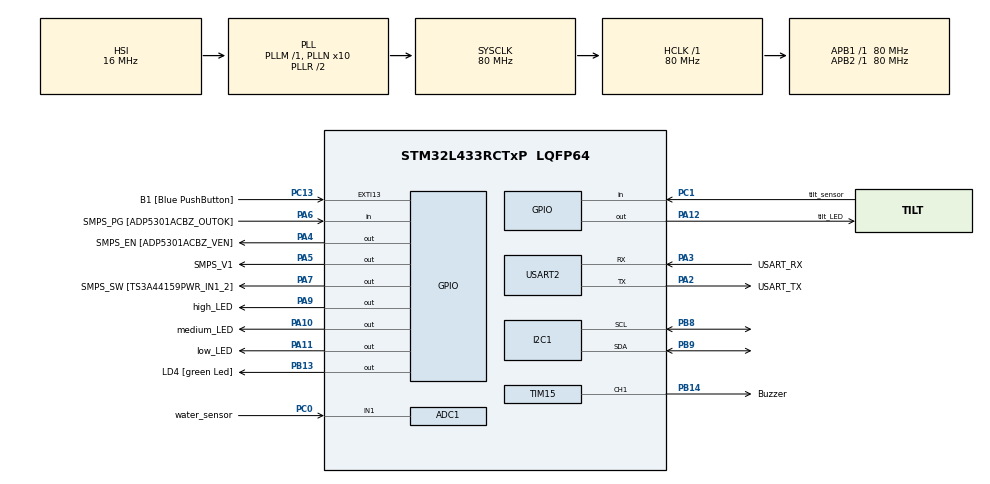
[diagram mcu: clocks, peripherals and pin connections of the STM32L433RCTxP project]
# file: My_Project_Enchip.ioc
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ADC1.Channel-0\#ChannelRegularConversion=ADC_CHANNEL_1
ADC1.ClockPrescaler=ADC_CLOCK_ASYNC_DIV4
ADC1.ContinuousConvMode=ENABLE
ADC1.NbrOfConversion=1
ADC1.NbrOfConversionFlag=1
ADC1.OffsetNumber-0\#ChannelRegularConversion=ADC_OFFSET_NONE
ADC1.Rank-0\#ChannelRegularConversion=1
ADC1.SamplingTime-0\#ChannelRegularConversion=ADC_SAMPLETIME_640CYCLES_5
ADC1.master=1
I2C1.Timing=0x10D19CE4
Mcu.Family=STM32L4
Mcu.Name=STM32L433RCTxP
Mcu.Package=LQFP64
NVIC.ADC1_IRQn=true\:0\:0\:false\:false\:true\:true\:true\:true
NVIC.PriorityGroup=NVIC_PRIORITYGROUP_4
PA10.GPIO_Label=medium_LED
PA10.GPIO_ModeDefaultOutputPP=GPIO_MODE_OUTPUT_PP
PA10.GPIO_PuPd=GPIO_NOPULL
PA10.Signal=GPIO_Output
PA11.GPIO_Label=low_LED
PA11.GPIO_ModeDefaultOutputPP=GPIO_MODE_OUTPUT_PP
PA11.GPIO_PuPd=GPIO_NOPULL
PA11.Signal=GPIO_Output
PA12.GPIO_Label=tilt_LED
PA12.GPIO_ModeDefaultOutputPP=GPIO_MODE_OUTPUT_PP
PA12.GPIO_PuPd=GPIO_NOPULL
PA12.Signal=GPIO_Output
PA13\ (JTMS-SWDIO).GPIO_Label=TMS
PA13\ (JTMS-SWDIO).Mode=Serial_Wire
PA13\ (JTMS-SWDIO).Signal=SYS_JTMS-SWDIO
PA14\ (JTCK-SWCLK).GPIO_Label=TCK
PA14\ (JTCK-SWCLK).Mode=Serial_Wire
PA14\ (JTCK-SWCLK).Signal=SYS_JTCK-SWCLK
PA2.GPIO_Label=USART_TX
PA2.GPIO_Mode=GPIO_MODE_AF_PP
PA2.GPIO_PuPd=GPIO_NOPULL
PA2.GPIO_Speed=GPIO_SPEED_FREQ_VERY_HIGH
PA2.Mode=Asynchronous
PA2.Signal=USART2_TX
PA3.GPIO_Label=USART_RX
PA3.GPIO_Mode=GPIO_MODE_AF_PP
PA3.GPIO_PuPd=GPIO_NOPULL
PA3.GPIO_Speed=GPIO_SPEED_FREQ_VERY_HIGH
PA3.Mode=Asynchronous
PA3.Signal=USART2_RX
PA4.GPIO_Label=SMPS_EN [ADP5301ACBZ_VEN]
PA4.Signal=GPIO_Output
PA5.GPIO_Label=SMPS_V1
PA5.GPIO_ModeDefaultOutputPP=GPIO_MODE_OUTPUT_PP
PA5.GPIO_PuPd=GPIO_NOPULL
PA5.GPIO_Speed=GPIO_SPEED_FREQ_LOW
PA5.Signal=GPIO_Output
PA6.GPIO_Label=SMPS_PG [ADP5301ACBZ_OUTOK]
PA6.GPIO_PuPd=GPIO_PULLUP
PA6.Signal=GPIO_Input
PA7.GPIO_Label=SMPS_SW [TS3A44159PWR_IN1_2]
PA7.Signal=GPIO_Output
PA9.GPIO_Label=high_LED
PA9.GPIO_ModeDefaultOutputPP=GPIO_MODE_OUTPUT_PP
PA9.GPIO_PuPd=GPIO_NOPULL
PA9.Signal=GPIO_Output
PB13.GPIO_Label=LD4 [green Led]
PB13.Signal=GPIO_Output
PB14.GPIO_Label=Buzzer
PB14.Signal=S_TIM15_CH1
PB3\ (JTDO-TRACESWO).GPIO_Label=SWO
PB3\ (JTDO-TRACESWO).Signal=SYS_JTDO-SWO
PB8.Mode=I2C
PB8.Signal=I2C1_SCL
PB9.Mode=I2C
PB9.Signal=I2C1_SDA
PC0.GPIO_Label=water_sensor
PC0.Signal=ADCx_IN1
PC1.GPIO_Label=tilt_sensor
PC1.Signal=GPIO_Input
PC13.GPIO_Label=B1 [Blue PushButton]
PC13.GPIO_ModeDefaultEXTI=GPIO_MODE_IT_FALLING
PC13.GPIO_PuPd=GPIO_NOPULL
PC13.Signal=GPXTI13
PC14-OSC32_IN\ (PC14).Mode=LSE-External-Oscillator
PC14-OSC32_IN\ (PC14).Signal=RCC_OSC32_IN
PC15-OSC32_OUT\ (PC15).Mode=LSE-External-Oscillator
PC15-OSC32_OUT\ (PC15).Signal=RCC_OSC32_OUT
PH0-OSC_IN\ (PH0).GPIO_Label=MCO
PH0-OSC_IN\ (PH0).Mode=HSE-External-Clock-Source
PH0-OSC_IN\ (PH0).Signal=RCC_OSC_IN
PH1-OSC_OUT\ (PH1).Signal=RCC_OSC_OUT
ProjectManager.HeapSize=0x200
ProjectManager.StackSize=0x400
ProjectManager.TargetToolchain=STM32CubeIDE
RCC.ADCFreq_Value=64000000
RCC.AHBFreq_Value=80000000
RCC.APB1Freq_Value=80000000
RCC.APB1TimFreq_Value=80000000
RCC.APB2Freq_Value=80000000
RCC.APB2TimFreq_Value=80000000
RCC.CortexFreq_Value=80000000
RCC.HCLKFreq_Value=80000000
RCC.HSE_VALUE=8000000
RCC.HSI48_VALUE=48000000
RCC.HSI_VALUE=16000000
RCC.MSI_VALUE=4000000
RCC.PLLN=10
RCC.PLLSourceVirtual=RCC_PLLSOURCE_HSI
RCC.PREFETCH_ENABLE=1
RCC.SYSCLKFreq_VALUE=80000000
RCC.SYSCLKSource=RCC_SYSCLKSOURCE_PLLCLK
RCC.USBFreq_Value=64000000
RCC.VCOOutputFreq_Value=160000000
SH.ADCx_IN1.0=ADC1_IN1,IN1-Single-Ended
SH.S_TIM15_CH1.0=TIM15_CH1,PWM Generation1 CH1
TIM15.Channel-PWM\ Generation1\ CH1=TIM_CHANNEL_1
TIM2.Prescaler=(80-1)
TIM2.TIM_MasterSlaveMode=TIM_MASTERSLAVEMODE_DISABLE
USART2.VirtualMode-Asynchronous=VM_ASYNC
VP_TIM15_VS_ClockSourceINT.Mode=Internal
VP_TIM2_VS_ClockSourceINT.Mode=Internal
board=NUCLEO-L433RC-P

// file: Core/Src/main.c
/* USER CODE BEGIN Header */
/**
  ******************************************************************************
  * @file           : main.c
  * @brief          : Main program body
  ******************************************************************************
  * @attention
  *
  * Copyright (c) 2025 STMicroelectronics.
  * All rights reserved.
  *
  * This software is licensed under terms that can be found in the LICENSE file
  * in the root directory of this software component.
  * If no LICENSE file comes with this software, it is provided AS-IS.
  *
  ******************************************************************************
  */
/* USER CODE END Header */
#include "main.h"

/* USER CODE BEGIN Includes */
#include "lcd.h"
#include "abuzz.h"
#include "stdio.h"
/* USER CODE END Includes */

/* USER CODE BEGIN PD */
uint16_t water_sensor;
uint8_t tilt_sensor_flag;
#define none   0
#define low    1
#define medium 2
#define high   3
/* USER CODE END PD */

ADC_HandleTypeDef hadc1;

I2C_HandleTypeDef hi2c1;

TIM_HandleTypeDef htim2;
TIM_HandleTypeDef htim15;

UART_HandleTypeDef huart2;

/* USER CODE BEGIN PV */
TextLCDType lcd;
/* USER CODE END PV */

void SystemClock_Config(void);
static void MX_GPIO_Init(void);
static void MX_USART2_UART_Init(void);
static void MX_ADC1_Init(void);
static void MX_I2C1_Init(void);
static void MX_TIM2_Init(void);
static void MX_TIM15_Init(void);

/* USER CODE BEGIN 0 */

void Display_water_value(){
	char water_value[16];
	if(water_sensor < 1500)
		water_sensor = 0;
	TextLCD_Position(&lcd,0,1);
	sprintf(water_value, "Value: %d   ", (water_sensor /  4));
	TextLCD_PutStr(&lcd, water_value);
}

void Display_water_info(char info[]){
	TextLCD_Position(&lcd,0,0);
	TextLCD_PutStr(&lcd,info);
	Display_water_value();
}

void Tilt_led_off(){ GPIOA->BRR = GPIO_BRR_BR12; }

void Tilt_led_on() { GPIOA->BSRR = GPIO_BSRR_BS12; }

void change_levelLEDS(int level){

	switch(level){
	case 0:
		GPIOA->BRR = GPIO_BRR_BR11 | GPIO_BRR_BR10 | GPIO_BRR_BR9;
		break;
	case 1:
		GPIOA->BSRR = GPIO_BSRR_BS11;
		GPIOA->BRR = GPIO_BRR_BR10 | GPIO_BRR_BR9;
		break;
	case 2:
		GPIOA->BSRR = GPIO_BSRR_BS11 | GPIO_BSRR_BS10;
		GPIOA->BRR = GPIO_BRR_BR9;
		break;
	case 3:
		GPIOA->BSRR = GPIO_BSRR_BS11 | GPIO_BSRR_BS10 | GPIO_BSRR_BS9;
		break;
	}
}

void Display_tilted_info(char info[]){
	abuzz_start();
	abuzz_p_short();
    Tilt_led_on();
    change_levelLEDS(none);
	TextLCD_Clear(&lcd);
	TextLCD_Position(&lcd,0,0);
	TextLCD_PutStr(&lcd,info);
}

void HAL_ADC_ConvCpltCallback(ADC_HandleTypeDef *hadc){
	if(hadc->Instance == ADC1){
		water_sensor = HAL_ADC_GetValue(hadc);
	}
}

/* USER CODE END 0 */

int main(void)
{

  /* MCU Configuration--------------------------------------------------------*/

  /* Reset of all peripherals, Initializes the Flash interface and the Systick. */
  HAL_Init();

  /* Configure the system clock */
  SystemClock_Config();

  /* Initialize all configured peripherals */
  MX_GPIO_Init();
  MX_USART2_UART_Init();
  MX_ADC1_Init();
  MX_I2C1_Init();
  MX_TIM2_Init();
  MX_TIM15_Init();
  /* USER CODE BEGIN 2 */

  TextLCD_Init(&lcd,&hi2c1,0x4E);
  HAL_ADC_Start_IT(&hadc1);
  HAL_TIM_PWM_Start(&htim15, TIM_CHANNEL_1);

  /* USER CODE END 2 */

  /* Infinite loop */
  /* USER CODE BEGIN WHILE */
  while (1)
  {
	  tilt_sensor_flag = HAL_GPIO_ReadPin(tilt_sensor_GPIO_Port, tilt_sensor_Pin);

	  if(tilt_sensor_flag == GPIO_PIN_RESET){
		  abuzz_stop();
		  Tilt_led_off();

		  if(water_sensor < 2500){
		  	  Display_water_info("No Water...     ");
		  	  change_levelLEDS(none);
		  }
		  else if(water_sensor < 3700){
				  Display_water_info("Level: Low    ");
				  change_levelLEDS(low);
			  }
			  else if(water_sensor < 3900){
					  Display_water_info("Level: Medium    ");
					  change_levelLEDS(medium);
				  }
				  else{
					  Display_water_info("Level: High    ");
					  change_levelLEDS(high);
				  }
	  }
	  else{
		  Display_tilted_info("Device is Tilted");

		  while(tilt_sensor_flag == GPIO_PIN_SET){
			  tilt_sensor_flag = HAL_GPIO_ReadPin(tilt_sensor_GPIO_Port, tilt_sensor_Pin);
		  }
	  }

    /* USER CODE END WHILE */

  }
}

void SystemClock_Config(void)
{
  RCC_OscInitTypeDef RCC_OscInitStruct = {0};
  RCC_ClkInitTypeDef RCC_ClkInitStruct = {0};

  /** Configure the main internal regulator output voltage
  */
  if (HAL_PWREx_ControlVoltageScaling(PWR_REGULATOR_VOLTAGE_SCALE1) != HAL_OK)
  {
    Error_Handler();
  }

  /** Initializes the RCC Oscillators according to the specified parameters
  * in the RCC_OscInitTypeDef structure.
  */
  RCC_OscInitStruct.OscillatorType = RCC_OSCILLATORTYPE_HSI;
  RCC_OscInitStruct.HSIState = RCC_HSI_ON;
  RCC_OscInitStruct.HSICalibrationValue = RCC_HSICALIBRATION_DEFAULT;
  RCC_OscInitStruct.PLL.PLLState = RCC_PLL_ON;
  RCC_OscInitStruct.PLL.PLLSource = RCC_PLLSOURCE_HSI;
  RCC_OscInitStruct.PLL.PLLM = 1;
  RCC_OscInitStruct.PLL.PLLN = 10;
  RCC_OscInitStruct.PLL.PLLP = RCC_PLLP_DIV7;
  RCC_OscInitStruct.PLL.PLLQ = RCC_PLLQ_DIV2;
  RCC_OscInitStruct.PLL.PLLR = RCC_PLLR_DIV2;
  if (HAL_RCC_OscConfig(&RCC_OscInitStruct) != HAL_OK)
  {
    Error_Handler();
  }

  /** Initializes the CPU, AHB and APB buses clocks
  */
  RCC_ClkInitStruct.ClockType = RCC_CLOCKTYPE_HCLK|RCC_CLOCKTYPE_SYSCLK
                              |RCC_CLOCKTYPE_PCLK1|RCC_CLOCKTYPE_PCLK2;
  RCC_ClkInitStruct.SYSCLKSource = RCC_SYSCLKSOURCE_PLLCLK;
  RCC_ClkInitStruct.AHBCLKDivider = RCC_SYSCLK_DIV1;
  RCC_ClkInitStruct.APB1CLKDivider = RCC_HCLK_DIV1;
  RCC_ClkInitStruct.APB2CLKDivider = RCC_HCLK_DIV1;

  if (HAL_RCC_ClockConfig(&RCC_ClkInitStruct, FLASH_LATENCY_4) != HAL_OK)
  {
    Error_Handler();
  }
}

static void MX_ADC1_Init(void)
{

  ADC_ChannelConfTypeDef sConfig = {0};

  /** Common config
  */
  hadc1.Instance = ADC1;
  hadc1.Init.ClockPrescaler = ADC_CLOCK_ASYNC_DIV4;
  hadc1.Init.Resolution = ADC_RESOLUTION_12B;
  hadc1.Init.DataAlign = ADC_DATAALIGN_RIGHT;
  hadc1.Init.ScanConvMode = ADC_SCAN_DISABLE;
  hadc1.Init.EOCSelection = ADC_EOC_SINGLE_CONV;
  hadc1.Init.LowPowerAutoWait = DISABLE;
  hadc1.Init.ContinuousConvMode = ENABLE;
  hadc1.Init.NbrOfConversion = 1;
  hadc1.Init.DiscontinuousConvMode = DISABLE;
  hadc1.Init.ExternalTrigConv = ADC_SOFTWARE_START;
  hadc1.Init.ExternalTrigConvEdge = ADC_EXTERNALTRIGCONVEDGE_NONE;
  hadc1.Init.DMAContinuousRequests = DISABLE;
  hadc1.Init.Overrun = ADC_OVR_DATA_PRESERVED;
  hadc1.Init.OversamplingMode = DISABLE;
  if (HAL_ADC_Init(&hadc1) != HAL_OK)
  {
    Error_Handler();
  }

  /** Configure Regular Channel
  */
  sConfig.Channel = ADC_CHANNEL_1;
  sConfig.Rank = ADC_REGULAR_RANK_1;
  sConfig.SamplingTime = ADC_SAMPLETIME_640CYCLES_5;
  sConfig.SingleDiff = ADC_SINGLE_ENDED;
  sConfig.OffsetNumber = ADC_OFFSET_NONE;
  sConfig.Offset = 0;
  if (HAL_ADC_ConfigChannel(&hadc1, &sConfig) != HAL_OK)
  {
    Error_Handler();
  }

}

static void MX_I2C1_Init(void)
{

  hi2c1.Instance = I2C1;
  hi2c1.Init.Timing = 0x10D19CE4;
  hi2c1.Init.OwnAddress1 = 0;
  hi2c1.Init.AddressingMode = I2C_ADDRESSINGMODE_7BIT;
  hi2c1.Init.DualAddressMode = I2C_DUALADDRESS_DISABLE;
  hi2c1.Init.OwnAddress2 = 0;
  hi2c1.Init.OwnAddress2Masks = I2C_OA2_NOMASK;
  hi2c1.Init.GeneralCallMode = I2C_GENERALCALL_DISABLE;
  hi2c1.Init.NoStretchMode = I2C_NOSTRETCH_DISABLE;
  if (HAL_I2C_Init(&hi2c1) != HAL_OK)
  {
    Error_Handler();
  }

  /** Configure Analogue filter
  */
  if (HAL_I2CEx_ConfigAnalogFilter(&hi2c1, I2C_ANALOGFILTER_ENABLE) != HAL_OK)
  {
    Error_Handler();
  }

  /** Configure Digital filter
  */
  if (HAL_I2CEx_ConfigDigitalFilter(&hi2c1, 0) != HAL_OK)
  {
    Error_Handler();
  }

}

static void MX_TIM2_Init(void)
{

  TIM_ClockConfigTypeDef sClockSourceConfig = {0};
  TIM_MasterConfigTypeDef sMasterConfig = {0};

  htim2.Instance = TIM2;
  htim2.Init.Prescaler = (80-1);
  htim2.Init.CounterMode = TIM_COUNTERMODE_UP;
  htim2.Init.Period = 4294967295;
  htim2.Init.ClockDivision = TIM_CLOCKDIVISION_DIV1;
  htim2.Init.AutoReloadPreload = TIM_AUTORELOAD_PRELOAD_DISABLE;
  if (HAL_TIM_Base_Init(&htim2) != HAL_OK)
  {
    Error_Handler();
  }
  sClockSourceConfig.ClockSource = TIM_CLOCKSOURCE_INTERNAL;
  if (HAL_TIM_ConfigClockSource(&htim2, &sClockSourceConfig) != HAL_OK)
  {
    Error_Handler();
  }
  sMasterConfig.MasterOutputTrigger = TIM_TRGO_RESET;
  sMasterConfig.MasterSlaveMode = TIM_MASTERSLAVEMODE_DISABLE;
  if (HAL_TIMEx_MasterConfigSynchronization(&htim2, &sMasterConfig) != HAL_OK)
  {
    Error_Handler();
  }

}

static void MX_TIM15_Init(void)
{

  TIM_ClockConfigTypeDef sClockSourceConfig = {0};
  TIM_MasterConfigTypeDef sMasterConfig = {0};
  TIM_OC_InitTypeDef sConfigOC = {0};
  TIM_BreakDeadTimeConfigTypeDef sBreakDeadTimeConfig = {0};

  htim15.Instance = TIM15;
  htim15.Init.Prescaler = 0;
  htim15.Init.CounterMode = TIM_COUNTERMODE_UP;
  htim15.Init.Period = 65535;
  htim15.Init.ClockDivision = TIM_CLOCKDIVISION_DIV1;
  htim15.Init.RepetitionCounter = 0;
  htim15.Init.AutoReloadPreload = TIM_AUTORELOAD_PRELOAD_DISABLE;
  if (HAL_TIM_Base_Init(&htim15) != HAL_OK)
  {
    Error_Handler();
  }
  sClockSourceConfig.ClockSource = TIM_CLOCKSOURCE_INTERNAL;
  if (HAL_TIM_ConfigClockSource(&htim15, &sClockSourceConfig) != HAL_OK)
  {
    Error_Handler();
  }
  if (HAL_TIM_PWM_Init(&htim15) != HAL_OK)
  {
    Error_Handler();
  }
  sMasterConfig.MasterOutputTrigger = TIM_TRGO_RESET;
  sMasterConfig.MasterSlaveMode = TIM_MASTERSLAVEMODE_DISABLE;
  if (HAL_TIMEx_MasterConfigSynchronization(&htim15, &sMasterConfig) != HAL_OK)
  {
    Error_Handler();
  }
  sConfigOC.OCMode = TIM_OCMODE_PWM1;
  sConfigOC.Pulse = 0;
  sConfigOC.OCPolarity = TIM_OCPOLARITY_HIGH;
  sConfigOC.OCNPolarity = TIM_OCNPOLARITY_HIGH;
  sConfigOC.OCFastMode = TIM_OCFAST_DISABLE;
  sConfigOC.OCIdleState = TIM_OCIDLESTATE_RESET;
  sConfigOC.OCNIdleState = TIM_OCNIDLESTATE_RESET;
  if (HAL_TIM_PWM_ConfigChannel(&htim15, &sConfigOC, TIM_CHANNEL_1) != HAL_OK)
  {
    Error_Handler();
  }
  sBreakDeadTimeConfig.OffStateRunMode = TIM_OSSR_DISABLE;
  sBreakDeadTimeConfig.OffStateIDLEMode = TIM_OSSI_DISABLE;
  sBreakDeadTimeConfig.LockLevel = TIM_LOCKLEVEL_OFF;
  sBreakDeadTimeConfig.DeadTime = 0;
  sBreakDeadTimeConfig.BreakState = TIM_BREAK_DISABLE;
  sBreakDeadTimeConfig.BreakPolarity = TIM_BREAKPOLARITY_HIGH;
  sBreakDeadTimeConfig.AutomaticOutput = TIM_AUTOMATICOUTPUT_DISABLE;
  if (HAL_TIMEx_ConfigBreakDeadTime(&htim15, &sBreakDeadTimeConfig) != HAL_OK)
  {
    Error_Handler();
  }
  HAL_TIM_MspPostInit(&htim15);

}

static void MX_USART2_UART_Init(void)
{

  huart2.Instance = USART2;
  huart2.Init.BaudRate = 115200;
  huart2.Init.WordLength = UART_WORDLENGTH_8B;
  huart2.Init.StopBits = UART_STOPBITS_1;
  huart2.Init.Parity = UART_PARITY_NONE;
  huart2.Init.Mode = UART_MODE_TX_RX;
  huart2.Init.HwFlowCtl = UART_HWCONTROL_NONE;
  huart2.Init.OverSampling = UART_OVERSAMPLING_16;
  huart2.Init.OneBitSampling = UART_ONE_BIT_SAMPLE_DISABLE;
  huart2.AdvancedInit.AdvFeatureInit = UART_ADVFEATURE_NO_INIT;
  if (HAL_UART_Init(&huart2) != HAL_OK)
  {
    Error_Handler();
  }

}

static void MX_GPIO_Init(void)
{
  GPIO_InitTypeDef GPIO_InitStruct = {0};

  /* GPIO Ports Clock Enable */
  __HAL_RCC_GPIOC_CLK_ENABLE();
  __HAL_RCC_GPIOH_CLK_ENABLE();
  __HAL_RCC_GPIOA_CLK_ENABLE();
  __HAL_RCC_GPIOB_CLK_ENABLE();

  /*Configure GPIO pin Output Level */
  HAL_GPIO_WritePin(GPIOA, SMPS_EN_Pin|SMPS_V1_Pin|SMPS_SW_Pin|high_LED_Pin
                          |medium_LED_Pin|low_LED_Pin|tilt_LED_Pin, GPIO_PIN_RESET);

  /*Configure GPIO pin Output Level */
  HAL_GPIO_WritePin(LD4_GPIO_Port, LD4_Pin, GPIO_PIN_RESET);

  /*Configure GPIO pin : B1_Pin */
  GPIO_InitStruct.Pin = B1_Pin;
  GPIO_InitStruct.Mode = GPIO_MODE_IT_FALLING;
  GPIO_InitStruct.Pull = GPIO_NOPULL;
  HAL_GPIO_Init(B1_GPIO_Port, &GPIO_InitStruct);

  /*Configure GPIO pin : tilt_sensor_Pin */
  GPIO_InitStruct.Pin = tilt_sensor_Pin;
  GPIO_InitStruct.Mode = GPIO_MODE_INPUT;
  GPIO_InitStruct.Pull = GPIO_NOPULL;
  HAL_GPIO_Init(tilt_sensor_GPIO_Port, &GPIO_InitStruct);

  /*Configure GPIO pins : SMPS_EN_Pin SMPS_V1_Pin SMPS_SW_Pin high_LED_Pin
                           medium_LED_Pin low_LED_Pin tilt_LED_Pin */
  GPIO_InitStruct.Pin = SMPS_EN_Pin|SMPS_V1_Pin|SMPS_SW_Pin|high_LED_Pin
                          |medium_LED_Pin|low_LED_Pin|tilt_LED_Pin;
  GPIO_InitStruct.Mode = GPIO_MODE_OUTPUT_PP;
  GPIO_InitStruct.Pull = GPIO_NOPULL;
  GPIO_InitStruct.Speed = GPIO_SPEED_FREQ_LOW;
  HAL_GPIO_Init(GPIOA, &GPIO_InitStruct);

  /*Configure GPIO pin : SMPS_PG_Pin */
  GPIO_InitStruct.Pin = SMPS_PG_Pin;
  GPIO_InitStruct.Mode = GPIO_MODE_INPUT;
  GPIO_InitStruct.Pull = GPIO_PULLUP;
  HAL_GPIO_Init(SMPS_PG_GPIO_Port, &GPIO_InitStruct);

  /*Configure GPIO pin : LD4_Pin */
  GPIO_InitStruct.Pin = LD4_Pin;
  GPIO_InitStruct.Mode = GPIO_MODE_OUTPUT_PP;
  GPIO_InitStruct.Pull = GPIO_NOPULL;
  GPIO_InitStruct.Speed = GPIO_SPEED_FREQ_LOW;
  HAL_GPIO_Init(LD4_GPIO_Port, &GPIO_InitStruct);

}

void Error_Handler(void)
{
  __disable_irq();
  while (1)
  {
  }
}
